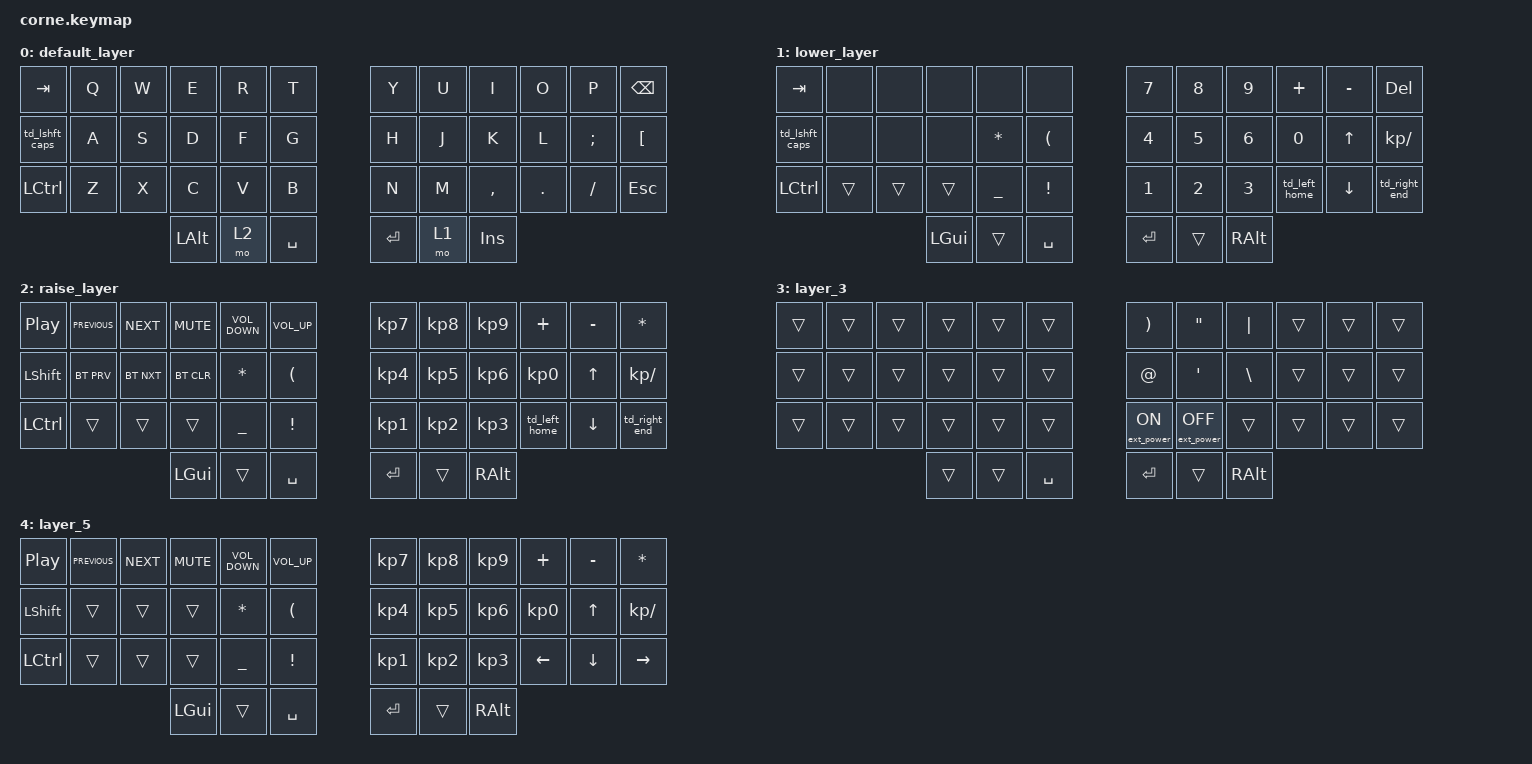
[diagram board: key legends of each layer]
#include <behaviors.dtsi>
#include <dt-bindings/zmk/bt.h>
#include <dt-bindings/zmk/ext_power.h>
#include <dt-bindings/zmk/keys.h>

/ {
    combos {
        compatible = "zmk,combos";
        music {
            bindings = <&tog 4>;
            key-positions = <36 37 38>;
        };
    };

    behaviors {
        td_lshft_caps: td_lshft_caps {
            compatible = "zmk,behavior-tap-dance";
            label = "TD_LSHFT_CAPS";
            #binding-cells = <0>;
            tapping-term-ms = <200>;
            bindings = <&kp LSHFT>, <&kp CAPS>;
        };
        td_left_home: td_left_home {
            compatible = "zmk,behavior-tap-dance";
            #binding-cells = <0>;
            tapping-term-ms = <200>;
            bindings = <&kp LEFT>, <&kp HOME>;
        };
    
        td_right_end: td_right_end {
            compatible = "zmk,behavior-tap-dance";
            #binding-cells = <0>;
            tapping-term-ms = <200>;
            bindings = <&kp RIGHT>, <&kp END>;
        };
    };

    keymap {
        compatible = "zmk,keymap";
        default_layer {
            bindings = <
&kp TAB         &kp Q  &kp W  &kp E     &kp R  &kp T        &kp Y    &kp U  &kp I       &kp O    &kp P     &kp BSPC
&td_lshft_caps  &kp A  &kp S  &kp D     &kp F  &kp G        &kp H    &kp J  &kp K       &kp L    &kp SEMI  &kp LBKT
&kp LCTRL       &kp Z  &kp X  &kp C     &kp V  &kp B        &kp N    &kp M  &kp COMMA   &kp DOT  &kp FSLH  &kp ESC
                          &kp LALT  &mo 2  &kp SPACE        &kp RET  &mo 1  &kp INSERT
            >;
        };
        lower_layer {
            bindings = <
&kp TAB         &none   &none   &none     &none           &none                   &kp N7        &kp N8        &kp N9        &kp PLUS  &kp MINUS       &kp DELETE
&td_lshft_caps  &none   &none   &none     &kp ASTERISK    &kp LEFT_PARENTHESIS    &kp NUMBER_4  &kp N5        &kp NUMBER_6  &kp N0    &kp UP_ARROW    &kp KP_DIVIDE
&kp LCTRL       &trans  &trans  &trans    &kp UNDERSCORE  &kp EXCL                &kp NUMBER_1  &kp NUMBER_2  &kp NUMBER_3  &td_left_home  &kp DOWN_ARROW  &td_right_end
                                &kp LGUI  &trans          &kp SPACE               &kp RET       &trans        &kp RALT
            >;
        };
        raise_layer {
            bindings = <
&kp C_PLAY_PAUSE  &kp C_PREVIOUS  &kp C_NEXT  &kp C_MUTE  &kp C_VOLUME_DOWN  &kp C_VOLUME_UP         &kp KP_NUMBER_7  &kp KP_NUMBER_8  &kp KP_NUMBER_9  &kp PLUS         &kp MINUS     &kp ASTERISK
&kp LSHFT         &bt BT_PRV      &bt BT_NXT  &bt BT_CLR  &kp ASTERISK       &kp LEFT_PARENTHESIS    &kp KP_NUMBER_4  &kp KP_NUMBER_5  &kp KP_NUMBER_6  &kp KP_NUMBER_0  &kp UP_ARROW  &kp KP_DIVIDE
&kp LCTRL         &trans          &trans      &trans      &kp UNDER          &kp EXCLAMATION         &kp KP_NUMBER_1  &kp KP_NUMBER_2  &kp KP_NUMBER_3  &td_left_home         &kp DOWN      &td_right_end
                                              &kp LGUI    &trans             &kp SPACE               &kp RET          &trans           &kp RALT
            >;
        };
        layer_3 {
            bindings = <
&trans  &trans  &trans  &trans  &trans  &trans       &kp RIGHT_PARENTHESIS  &kp DOUBLE_QUOTES  &kp PIPE       &trans  &trans  &trans
&trans  &trans  &trans  &trans  &trans  &trans       &kp AT                 &kp SINGLE_QUOTE   &kp BSLH       &trans  &trans  &trans
&trans  &trans  &trans  &trans  &trans  &trans       &ext_power EP_ON       &ext_power EP_OFF  &trans         &trans  &trans  &trans
                        &trans  &trans  &kp SPACE    &kp ENTER              &trans             &kp RIGHT_ALT
            >;
        };
        layer_5 {
            bindings = <
&kp C_PLAY_PAUSE  &kp C_PREVIOUS  &kp C_NEXT  &kp C_MUTE  &kp C_VOLUME_DOWN  &kp C_VOLUME_UP         &kp KP_NUMBER_7  &kp KP_NUMBER_8  &kp KP_NUMBER_9  &kp PLUS         &kp MINUS     &kp ASTERISK
&kp LSHFT         &trans          &trans      &trans      &kp ASTERISK       &kp LEFT_PARENTHESIS    &kp KP_NUMBER_4  &kp KP_NUMBER_5  &kp KP_NUMBER_6  &kp KP_NUMBER_0  &kp UP_ARROW  &kp KP_DIVIDE
&kp LCTRL       &trans          &trans      &trans      &kp UNDER          &kp EXCLAMATION         &kp KP_NUMBER_1  &kp KP_NUMBER_2  &kp KP_NUMBER_3  &kp LEFT         &kp DOWN      &kp RIGHT
                                              &kp LGUI    &trans             &kp SPACE               &kp RET          &trans           &kp RALT
            >;
        };
    };

    conditional_layers {
        compatible = "zmk,conditional-layers";
        extra_layer {
            if-layers = <1 2>;
            then-layer = <3>;
        };
    };
};
